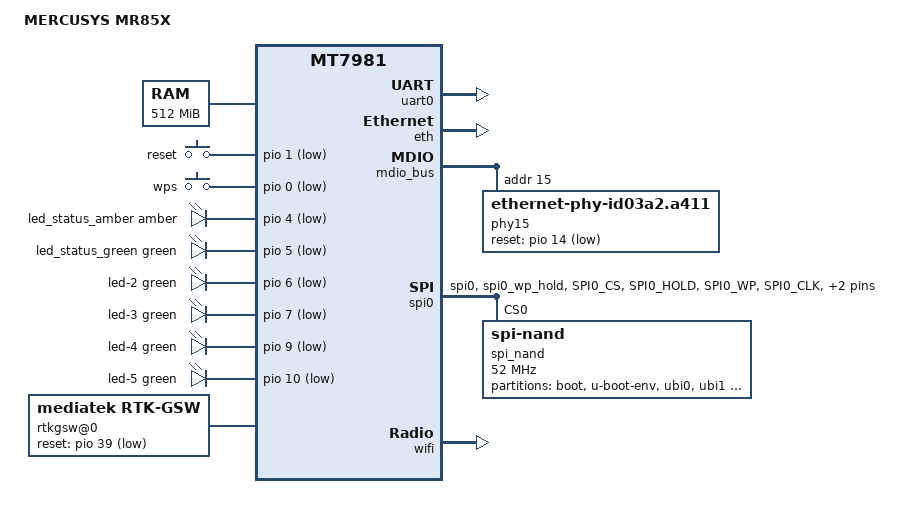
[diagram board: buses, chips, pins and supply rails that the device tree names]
// SPDX-License-Identifier: GPL-2.0

/dts-v1/;
#include <dt-bindings/input/input.h>
#include <dt-bindings/gpio/gpio.h>

#include "mt7981b.dtsi"
/ {
	model = "MERCUSYS MR85X";
	compatible = "mercusys,mr85x", "mediatek,mt7981";

	aliases {
		led-boot = &led_status_green;
		led-failsafe = &led_status_amber;
		led-running = &led_status_green;
		led-upgrade = &led_status_green;

		serial0 = &uart0;
	};

	chosen {
		stdout-path = "serial0:115200n8";
	};

	memory@40000000 {
		reg = <0 0x40000000 0 0x20000000>;
		device_type = "memory";
	};

	keys {
		compatible = "gpio-keys";

		button-reset {
			label = "reset";
			linux,code = <KEY_RESTART>;
			gpios = <&pio 1 GPIO_ACTIVE_LOW>;
		};

		button-wps {
			label = "wps";
			linux,code = <KEY_WPS_BUTTON>;
			gpios = <&pio 0 GPIO_ACTIVE_LOW>;
		};
	};

	leds {
		compatible = "gpio-leds";

		led_status_amber: led-0 {
			color = <LED_COLOR_ID_AMBER>;
			function = LED_FUNCTION_STATUS;
			gpios = <&pio 4 GPIO_ACTIVE_LOW>;
		};

		led_status_green: led-1 {
			color = <LED_COLOR_ID_GREEN>;
			function = LED_FUNCTION_STATUS;
			gpios = <&pio 5 GPIO_ACTIVE_LOW>;
		};

		led-2 {
			color = <LED_COLOR_ID_GREEN>;
			function = LED_FUNCTION_LAN;
			function-enumerator = <0>;
			gpios = <&pio 6 GPIO_ACTIVE_LOW>;
		};

		led-3 {
			color = <LED_COLOR_ID_GREEN>;
			function = LED_FUNCTION_LAN;
			function-enumerator = <1>;
			gpios = <&pio 7 GPIO_ACTIVE_LOW>;
		};

		led-4 {
			color = <LED_COLOR_ID_GREEN>;
			function = LED_FUNCTION_WAN;
			gpios = <&pio 9 GPIO_ACTIVE_LOW>;
		};

		led-5 {
			color = <LED_COLOR_ID_GREEN>;
			function = LED_FUNCTION_LAN;
			function-enumerator = <2>;
			gpios = <&pio 10 GPIO_ACTIVE_LOW>;
		};
	};

	rtkgsw@0 {
		compatible = "mediatek,rtk-gsw";
		mediatek,ethsys = <&ethsys>;
		mediatek,mdio = <&mdio_bus>;
		reset-gpios = <&pio 39 GPIO_ACTIVE_LOW>;
		status = "okay";
	};
};

&uart0 {
	status = "okay";
};

&eth {
	status = "okay";

	mac@0 {
		compatible = "mediatek,eth-mac";
		reg = <0>;
		phy-mode = "2500base-x";

		fixed-link {
			speed = <2500>;
			full-duplex;
			pause;
		};
	};

	mac@1 {
		compatible = "mediatek,eth-mac";
		reg = <1>;
		phy-mode = "2500base-x";
		phy-handle = <&phy15>;
	};
};


&mdio_bus {
	phy15: phy@f {
		compatible = "ethernet-phy-id03a2.a411";
		reg = <15>;
		reset-gpios = <&pio 14 GPIO_ACTIVE_LOW>;
		reset-delay-us = <200000>;
		reset-post-delay-us = <1000000>;
		phy-mode = "2500base-x";
		full-duplex;
		pause;
	};
};

&spi0 {
	pinctrl-names = "default";
	pinctrl-0 = <&spi0_flash_pins>;
	status = "okay";

	spi_nand@0 {
		#address-cells = <1>;
		#size-cells = <1>;
		compatible = "spi-nand";
		reg = <0>;
		spi-max-frequency = <52000000>;
		spi-tx-buswidth = <4>;
		spi-rx-buswidth = <4>;

		partitions {
			compatible = "fixed-partitions";
			#address-cells = <1>;
			#size-cells = <1>;

			partition@0 {
				label = "boot";
				reg = <0x00000 0x0200000>;
				read-only;
			};

			partition@200000 {
				label = "u-boot-env";
				reg = <0x0200000 0x0100000>;
			};

			partition@300000 {
				label = "ubi0";
				reg = <0x300000 0x3200000>;
			};

			partition@3500000 {
				label = "ubi1";
				reg = <0x3500000 0x3200000>;
				read-only;
			};

			partition@6700000 {
				label = "userconfig";
				reg = <0x6700000 0x800000>;
				read-only;
			};

			partition@6f00000 {
				label = "tp_data";
				reg = <0x6f00000 0x800000>;
				read-only;
			};
		};
	};
};

&pio {
	spi0_flash_pins: spi0-pins {
		mux {
			function = "spi";
			groups = "spi0", "spi0_wp_hold";
		};

		conf-pu {
			pins = "SPI0_CS", "SPI0_HOLD", "SPI0_WP";
			drive-strength = <MTK_DRIVE_8mA>;
			bias-pull-up = <MTK_PUPD_SET_R1R0_11>;
		};

		conf-pd {
			pins = "SPI0_CLK", "SPI0_MOSI", "SPI0_MISO";
			drive-strength = <MTK_DRIVE_8mA>;
			bias-pull-down = <MTK_PUPD_SET_R1R0_11>;
		};
	};
};

&wifi {
	status = "okay";
};
